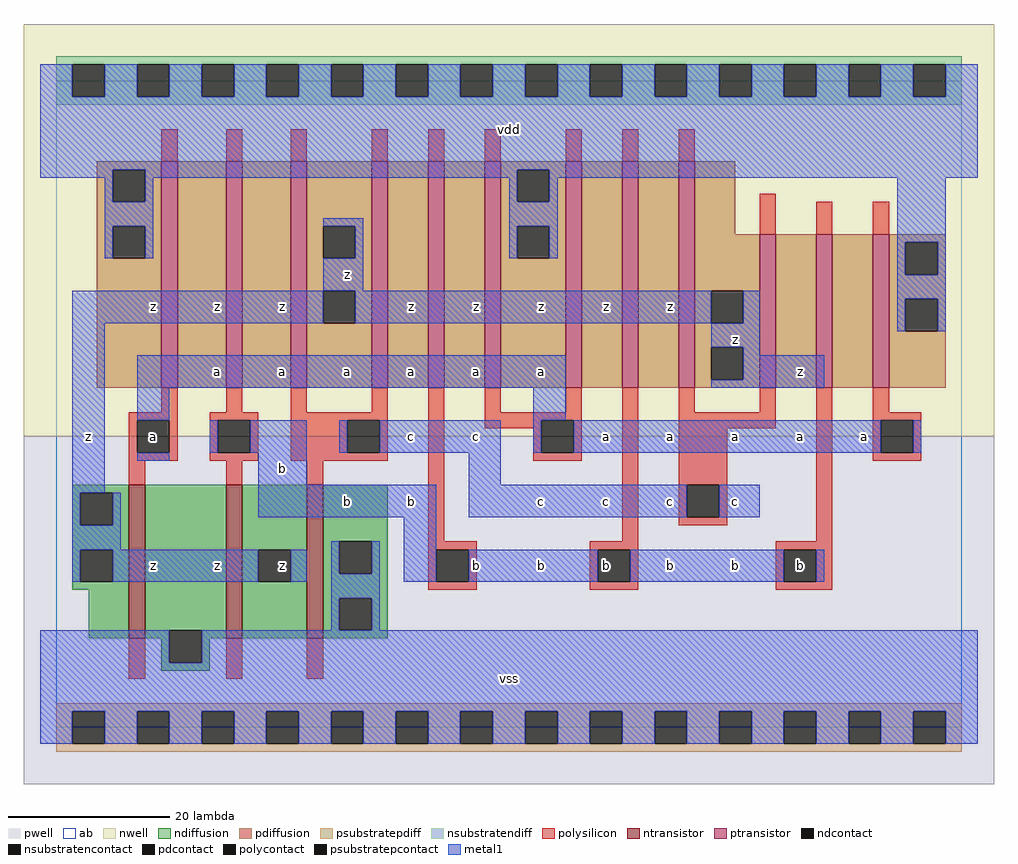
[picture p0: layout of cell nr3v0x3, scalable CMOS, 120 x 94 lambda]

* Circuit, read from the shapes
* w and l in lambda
.subckt nr3v0x3 a b c vdd vss z
M1 vss a z vss nfet w=19 l=2
M2 z b vss vss nfet w=19 l=2
M3 vss c z vss nfet w=19 l=2
M4 n1 a vdd vdd pfet w=28 l=2
M5 n2 b n1 vdd pfet w=28 l=2
M6 z c n2 vdd pfet w=28 l=2
M7 n3 c z vdd pfet w=28 l=2
M8 n4 b n3 vdd pfet w=28 l=2
M9 vdd a n4 vdd pfet w=28 l=2
M10 n5 a vdd vdd pfet w=28 l=2
M11 n6 b n5 vdd pfet w=28 l=2
M12 z c n6 vdd pfet w=28 l=2
M13 n7 c z vdd pfet w=19 l=2
M14 n8 b n7 vdd pfet w=19 l=2
M15 vdd a n8 vdd pfet w=19 l=2
.ends

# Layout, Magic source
magic
tech scmos
<< ab >>
rect 0 0 112 80
<< pwell >>
rect -4 -7 116 36
<< nwell >>
rect -4 36 116 87
<< polysilicon >>
rect 13 70 15 74
rect 21 70 23 74
rect 29 70 31 74
rect 39 70 41 74
rect 46 70 48 74
rect 53 70 55 74
rect 63 70 65 74
rect 70 70 72 74
rect 77 70 79 74
rect 87 61 89 66
rect 94 61 96 65
rect 101 61 103 65
rect 13 39 15 42
rect 21 39 23 42
rect 29 39 31 42
rect 39 39 41 42
rect 9 38 15 39
rect 9 34 10 38
rect 14 34 15 38
rect 9 33 15 34
rect 19 38 25 39
rect 19 34 20 38
rect 24 34 25 38
rect 19 33 25 34
rect 29 38 41 39
rect 29 34 36 38
rect 40 34 41 38
rect 29 33 41 34
rect 9 30 11 33
rect 21 30 23 33
rect 31 30 33 33
rect 9 6 11 11
rect 46 23 48 42
rect 53 39 55 42
rect 63 39 65 42
rect 53 38 65 39
rect 53 37 60 38
rect 59 34 60 37
rect 64 34 65 38
rect 59 33 65 34
rect 70 23 72 42
rect 77 39 79 42
rect 87 39 89 42
rect 77 37 89 39
rect 77 30 83 37
rect 77 26 78 30
rect 82 26 83 30
rect 77 25 83 26
rect 94 23 96 42
rect 101 39 103 42
rect 101 38 107 39
rect 101 34 102 38
rect 106 34 107 38
rect 101 33 107 34
rect 46 22 52 23
rect 46 18 47 22
rect 51 18 52 22
rect 46 17 52 18
rect 66 22 72 23
rect 66 18 67 22
rect 71 18 72 22
rect 66 17 72 18
rect 89 22 96 23
rect 89 18 90 22
rect 94 18 96 22
rect 89 17 96 18
rect 21 6 23 11
rect 31 6 33 11
<< ndiffusion >>
rect 2 29 9 30
rect 2 25 3 29
rect 7 25 9 29
rect 2 22 9 25
rect 2 18 3 22
rect 7 18 9 22
rect 2 17 9 18
rect 4 11 9 17
rect 11 12 21 30
rect 11 11 14 12
rect 13 8 14 11
rect 18 11 21 12
rect 23 22 31 30
rect 23 18 25 22
rect 29 18 31 22
rect 23 11 31 18
rect 33 23 41 30
rect 33 19 35 23
rect 39 19 41 23
rect 33 16 41 19
rect 33 12 35 16
rect 39 12 41 16
rect 33 11 41 12
rect 18 8 19 11
rect 13 7 19 8
<< pdiffusion >>
rect 5 69 13 70
rect 5 65 7 69
rect 11 65 13 69
rect 5 62 13 65
rect 5 58 7 62
rect 11 58 13 62
rect 5 42 13 58
rect 15 42 21 70
rect 23 42 29 70
rect 31 62 39 70
rect 31 58 33 62
rect 37 58 39 62
rect 31 54 39 58
rect 31 50 33 54
rect 37 50 39 54
rect 31 42 39 50
rect 41 42 46 70
rect 48 42 53 70
rect 55 69 63 70
rect 55 65 57 69
rect 61 65 63 69
rect 55 62 63 65
rect 55 58 57 62
rect 61 58 63 62
rect 55 42 63 58
rect 65 42 70 70
rect 72 42 77 70
rect 79 61 84 70
rect 79 54 87 61
rect 79 50 81 54
rect 85 50 87 54
rect 79 47 87 50
rect 79 43 81 47
rect 85 43 87 47
rect 79 42 87 43
rect 89 42 94 61
rect 96 42 101 61
rect 103 60 110 61
rect 103 56 105 60
rect 109 56 110 60
rect 103 53 110 56
rect 103 49 105 53
rect 109 49 110 53
rect 103 42 110 49
<< metal1 >>
rect -2 78 2 82
rect 6 78 10 82
rect 14 78 18 82
rect 22 78 26 82
rect 30 78 34 82
rect 38 78 42 82
rect 46 78 50 82
rect 54 78 58 82
rect 62 78 66 82
rect 70 78 74 82
rect 78 78 82 82
rect 86 78 90 82
rect 94 78 98 82
rect 102 78 106 82
rect 110 78 114 82
rect -2 69 114 78
rect -2 68 7 69
rect 6 65 7 68
rect 11 68 57 69
rect 11 65 12 68
rect 6 62 12 65
rect 56 65 57 68
rect 61 68 114 69
rect 61 65 62 68
rect 6 58 7 62
rect 11 58 12 62
rect 33 62 38 63
rect 37 58 38 62
rect 56 62 62 65
rect 56 58 57 62
rect 61 58 62 62
rect 104 60 110 68
rect 33 54 38 58
rect 104 56 105 60
rect 109 56 110 60
rect 2 50 33 54
rect 37 50 81 54
rect 85 50 87 54
rect 2 29 6 50
rect 81 47 87 50
rect 104 53 110 56
rect 104 49 105 53
rect 109 49 110 53
rect 10 42 63 46
rect 85 46 87 47
rect 85 43 95 46
rect 81 42 95 43
rect 10 38 14 42
rect 59 38 63 42
rect 19 34 20 38
rect 24 34 31 38
rect 35 34 36 38
rect 40 34 55 38
rect 59 34 60 38
rect 64 34 102 38
rect 106 34 107 38
rect 10 33 14 34
rect 25 30 31 34
rect 51 30 55 34
rect 2 25 3 29
rect 7 25 8 29
rect 25 26 47 30
rect 51 26 78 30
rect 82 26 87 30
rect 2 22 8 25
rect 2 18 3 22
rect 7 18 25 22
rect 29 18 31 22
rect 34 19 35 23
rect 39 19 40 23
rect 34 16 40 19
rect 43 18 47 26
rect 51 18 67 22
rect 71 18 90 22
rect 94 18 95 22
rect 34 12 35 16
rect 39 12 40 16
rect -2 8 14 12
rect 18 8 114 12
rect -2 2 114 8
rect -2 -2 2 2
rect 6 -2 10 2
rect 14 -2 18 2
rect 22 -2 26 2
rect 30 -2 34 2
rect 38 -2 42 2
rect 46 -2 50 2
rect 54 -2 58 2
rect 62 -2 66 2
rect 70 -2 74 2
rect 78 -2 82 2
rect 86 -2 90 2
rect 94 -2 98 2
rect 102 -2 106 2
rect 110 -2 114 2
<< ntransistor >>
rect 9 11 11 30
rect 21 11 23 30
rect 31 11 33 30
<< ptransistor >>
rect 13 42 15 70
rect 21 42 23 70
rect 29 42 31 70
rect 39 42 41 70
rect 46 42 48 70
rect 53 42 55 70
rect 63 42 65 70
rect 70 42 72 70
rect 77 42 79 70
rect 87 42 89 61
rect 94 42 96 61
rect 101 42 103 61
<< polycontact >>
rect 10 34 14 38
rect 20 34 24 38
rect 36 34 40 38
rect 60 34 64 38
rect 78 26 82 30
rect 102 34 106 38
rect 47 18 51 22
rect 67 18 71 22
rect 90 18 94 22
<< ndcontact >>
rect 3 25 7 29
rect 3 18 7 22
rect 14 8 18 12
rect 25 18 29 22
rect 35 19 39 23
rect 35 12 39 16
<< pdcontact >>
rect 7 65 11 69
rect 7 58 11 62
rect 33 58 37 62
rect 33 50 37 54
rect 57 65 61 69
rect 57 58 61 62
rect 81 50 85 54
rect 81 43 85 47
rect 105 56 109 60
rect 105 49 109 53
<< psubstratepcontact >>
rect 2 -2 6 2
rect 10 -2 14 2
rect 18 -2 22 2
rect 26 -2 30 2
rect 34 -2 38 2
rect 42 -2 46 2
rect 50 -2 54 2
rect 58 -2 62 2
rect 66 -2 70 2
rect 74 -2 78 2
rect 82 -2 86 2
rect 90 -2 94 2
rect 98 -2 102 2
rect 106 -2 110 2
<< nsubstratencontact >>
rect 2 78 6 82
rect 10 78 14 82
rect 18 78 22 82
rect 26 78 30 82
rect 34 78 38 82
rect 42 78 46 82
rect 50 78 54 82
rect 58 78 62 82
rect 66 78 70 82
rect 74 78 78 82
rect 82 78 86 82
rect 90 78 94 82
rect 98 78 102 82
rect 106 78 110 82
<< psubstratepdiff >>
rect 0 2 112 3
rect 0 -2 2 2
rect 6 -2 10 2
rect 14 -2 18 2
rect 22 -2 26 2
rect 30 -2 34 2
rect 38 -2 42 2
rect 46 -2 50 2
rect 54 -2 58 2
rect 62 -2 66 2
rect 70 -2 74 2
rect 78 -2 82 2
rect 86 -2 90 2
rect 94 -2 98 2
rect 102 -2 106 2
rect 110 -2 112 2
rect 0 -3 112 -2
<< nsubstratendiff >>
rect 0 82 112 83
rect 0 78 2 82
rect 6 78 10 82
rect 14 78 18 82
rect 22 78 26 82
rect 30 78 34 82
rect 38 78 42 82
rect 46 78 50 82
rect 54 78 58 82
rect 62 78 66 82
rect 70 78 74 82
rect 78 78 82 82
rect 86 78 90 82
rect 94 78 98 82
rect 102 78 106 82
rect 110 78 112 82
rect 0 77 112 78
<< labels >>
rlabel metal1 12 20 12 20 6 z
rlabel polycontact 12 36 12 36 6 a
rlabel metal1 4 36 4 36 6 z
rlabel metal1 12 52 12 52 6 z
rlabel metal1 20 20 20 20 6 z
rlabel ndcontact 28 20 28 20 6 z
rlabel metal1 28 32 28 32 6 b
rlabel metal1 28 44 28 44 6 a
rlabel metal1 20 44 20 44 6 a
rlabel metal1 20 52 20 52 6 z
rlabel metal1 28 52 28 52 6 z
rlabel metal1 52 20 52 20 6 b
rlabel metal1 44 28 44 28 6 b
rlabel metal1 36 28 36 28 6 b
rlabel metal1 52 36 52 36 6 c
rlabel metal1 44 36 44 36 6 c
rlabel metal1 44 44 44 44 6 a
rlabel metal1 52 44 52 44 6 a
rlabel metal1 36 44 36 44 6 a
rlabel metal1 44 52 44 52 6 z
rlabel metal1 52 52 52 52 6 z
rlabel metal1 36 56 36 56 6 z
rlabel metal1 56 6 56 6 6 vss
rlabel polycontact 68 20 68 20 6 b
rlabel metal1 60 20 60 20 6 b
rlabel metal1 60 28 60 28 6 c
rlabel metal1 68 28 68 28 6 c
rlabel metal1 68 36 68 36 6 a
rlabel metal1 60 44 60 44 6 a
rlabel metal1 68 52 68 52 6 z
rlabel metal1 60 52 60 52 6 z
rlabel metal1 56 74 56 74 6 vdd
rlabel metal1 76 20 76 20 6 b
rlabel polycontact 92 20 92 20 6 b
rlabel metal1 84 20 84 20 6 b
rlabel metal1 84 28 84 28 6 c
rlabel metal1 76 28 76 28 6 c
rlabel metal1 76 36 76 36 6 a
rlabel metal1 92 36 92 36 6 a
rlabel metal1 84 36 84 36 6 a
rlabel metal1 92 44 92 44 6 z
rlabel metal1 76 52 76 52 6 z
rlabel metal1 84 48 84 48 6 z
rlabel metal1 100 36 100 36 6 a
<< end >>
